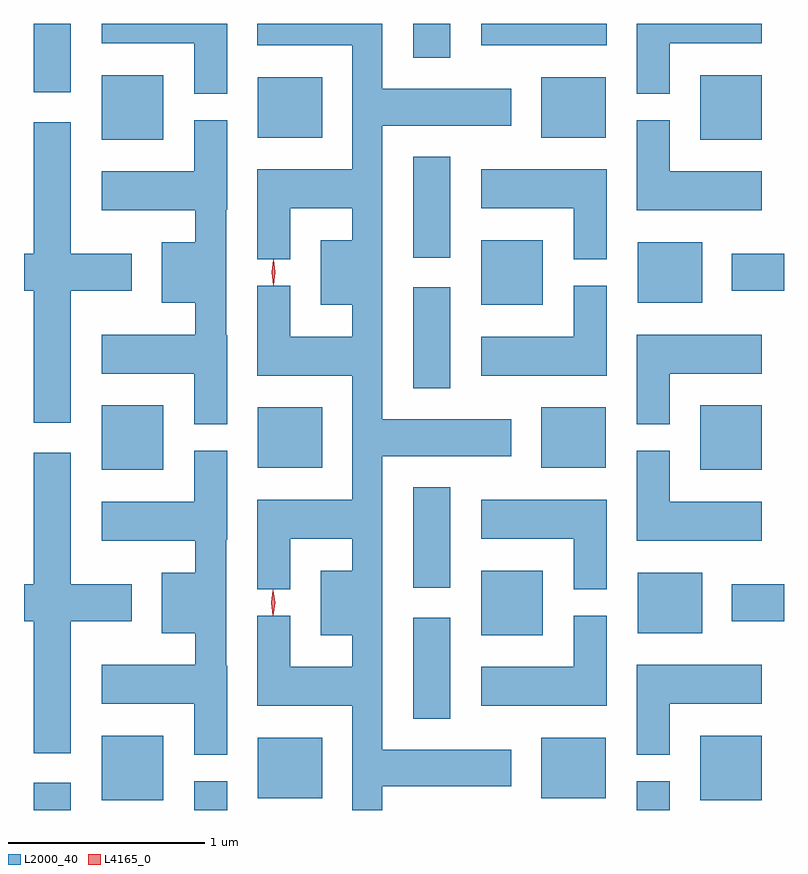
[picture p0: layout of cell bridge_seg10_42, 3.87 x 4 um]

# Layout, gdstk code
import gdstk
lib = gdstk.Library(unit=1e-6, precision=1e-09)
def R(c, l, rs):  # rectangles x0, y0, x1, y1
    for r in rs: c.add(gdstk.rectangle(r[:2], r[2:], *l))
def A(c, l, x, y, w, h, nx, ny, dx, dy):  # array of equal rectangles
    R(c, l, [(x+i*dx, y+j*dy, x+i*dx+w, y+j*dy+h) for i in range(nx) for j in range(ny)])
def P(c, l, *ps):  # polygons
    for p in ps: c.add(gdstk.Polygon(p, *l))
L2000_40 = (2000, 40)
L4165_0 = (4165, 0)

bridge_seg10_42 = lib.new_cell('bridge_seg10_42')
A(bridge_seg10_42, L2000_40, 1624.131, 2163.126, 0.313, 0.328, 1, 3, 0, 1.68)
A(bridge_seg10_42, L2000_40, 1627.176, 2163.126, 0.313, 0.328, 1, 3, 0, 1.68)
A(bridge_seg10_42, L2000_40, 1624.926, 2163.136, 0.328, 0.308, 1, 3, 0, 1.68)
A(bridge_seg10_42, L2000_40, 1626.366, 2163.136, 0.328, 0.308, 1, 3, 0, 1.68)
R(bridge_seg10_42, L2000_40, [(1623.786,2163.075,1623.974,2163.214), (1624.601,2163.075,1624.769,2163.223), (1626.851,2163.075,1627.019,2163.223), (1625.716,2163.541,1625.904,2164.054), (1626.061,2163.966,1626.374,2164.294), (1626.856,2163.976,1627.184,2164.284), (1627.336,2164.036,1627.601,2164.224), (1625.716,2164.206,1625.904,2164.719), (1625.716,2165.221,1625.904,2165.734), (1626.061,2165.646,1626.374,2165.974), (1626.856,2165.656,1627.184,2165.964), (1627.336,2165.716,1627.601,2165.904), (1625.716,2165.886,1625.904,2166.399), (1623.786,2166.726,1623.974,2167.075), (1625.716,2166.901,1625.904,2167.075), (1626.061,2166.966,1626.699,2167.075)])
P(bridge_seg10_42, L2000_40, [(1625.559,2163.196),(1626.214,2163.196),(1626.214,2163.384),(1625.559,2163.384),(1625.559,2164.876),(1626.214,2164.876),(1626.214,2165.064),(1625.559,2165.064),(1625.559,2166.556),(1626.214,2166.556),(1626.214,2166.744),(1625.559,2166.744),(1625.559,2167.075),(1624.921,2167.075),(1624.921,2166.966),(1625.406,2166.966),(1625.406,2166.334),(1624.921,2166.334),(1624.921,2165.878),(1625.089,2165.878),(1625.089,2166.136),(1625.406,2166.136),(1625.406,2165.974),(1625.246,2165.974),(1625.246,2165.646),(1625.406,2165.646),(1625.406,2165.484),(1625.089,2165.484),(1625.089,2165.743),(1624.921,2165.743),(1624.921,2165.286),(1625.406,2165.286),(1625.406,2164.654),(1624.921,2164.654),(1624.921,2164.198),(1625.089,2164.198),(1625.089,2164.456),(1625.406,2164.456),(1625.406,2164.294),(1625.246,2164.294),(1625.246,2163.966),(1625.406,2163.966),(1625.406,2163.804),(1625.089,2163.804),(1625.089,2164.063),(1624.921,2164.063),(1624.921,2163.606),(1625.406,2163.606),(1625.406,2163.075),(1625.559,2163.075)],
  [(1624.769,2167.075),(1624.131,2167.075),(1624.131,2166.976),(1624.601,2166.976),(1624.601,2166.718),(1624.769,2166.718)],
  [(1627.019,2166.976),(1627.489,2166.976),(1627.489,2167.075),(1626.851,2167.075),(1626.851,2166.718),(1627.019,2166.718)],
  [(1624.769,2165.49),(1624.764,2165.49),(1624.764,2166.13),(1624.769,2166.13),(1624.769,2166.583),(1624.601,2166.583),(1624.601,2166.324),(1624.131,2166.324),(1624.131,2166.126),(1624.606,2166.126),(1624.606,2165.964),(1624.436,2165.964),(1624.436,2165.656),(1624.606,2165.656),(1624.606,2165.494),(1624.131,2165.494),(1624.131,2165.296),(1624.601,2165.296),(1624.601,2165.038),(1624.769,2165.038)],
  [(1627.489,2166.324),(1627.019,2166.324),(1627.019,2166.583),(1626.851,2166.583),(1626.851,2166.126),(1627.489,2166.126)],
  [(1623.974,2165.716),(1624.284,2165.716),(1624.284,2165.904),(1623.974,2165.904),(1623.974,2166.574),(1623.786,2166.574),(1623.786,2165.904),(1623.736,2165.904),(1623.736,2165.716),(1623.786,2165.716),(1623.786,2165.046),(1623.974,2165.046)],
  [(1626.699,2166.334),(1626.061,2166.334),(1626.061,2166.136),(1626.531,2166.136),(1626.531,2165.878),(1626.699,2165.878)],
  [(1626.699,2165.743),(1626.531,2165.743),(1626.531,2165.484),(1626.061,2165.484),(1626.061,2165.286),(1626.699,2165.286)],
  [(1627.019,2165.296),(1627.489,2165.296),(1627.489,2165.494),(1626.851,2165.494),(1626.851,2165.038),(1627.019,2165.038)],
  [(1627.489,2164.644),(1627.019,2164.644),(1627.019,2164.903),(1626.851,2164.903),(1626.851,2164.446),(1627.489,2164.446)],
  [(1624.769,2163.81),(1624.764,2163.81),(1624.764,2164.45),(1624.769,2164.45),(1624.769,2164.903),(1624.601,2164.903),(1624.601,2164.644),(1624.131,2164.644),(1624.131,2164.446),(1624.606,2164.446),(1624.606,2164.284),(1624.436,2164.284),(1624.436,2163.976),(1624.606,2163.976),(1624.606,2163.814),(1624.131,2163.814),(1624.131,2163.616),(1624.601,2163.616),(1624.601,2163.358),(1624.769,2163.358)],
  [(1623.974,2164.036),(1624.284,2164.036),(1624.284,2164.224),(1623.974,2164.224),(1623.974,2164.894),(1623.786,2164.894),(1623.786,2164.224),(1623.736,2164.224),(1623.736,2164.036),(1623.786,2164.036),(1623.786,2163.366),(1623.974,2163.366)],
  [(1626.699,2164.654),(1626.061,2164.654),(1626.061,2164.456),(1626.531,2164.456),(1626.531,2164.198),(1626.699,2164.198)],
  [(1626.699,2164.063),(1626.531,2164.063),(1626.531,2163.804),(1626.061,2163.804),(1626.061,2163.606),(1626.699,2163.606)],
  [(1627.019,2163.616),(1627.489,2163.616),(1627.489,2163.814),(1626.851,2163.814),(1626.851,2163.358),(1627.019,2163.358)])
P(bridge_seg10_42, L4165_0, [(1625.003,2164.064),(1625.002,2164.065),(1624.993,2164.13),(1625.002,2164.195),(1625.003,2164.196),(1625.003,2164.195),(1625.013,2164.13),(1625.003,2164.065)],
  [(1625.005,2165.744),(1625.004,2165.745),(1624.995,2165.81),(1625.004,2165.875),(1625.005,2165.876),(1625.005,2165.875),(1625.015,2165.81),(1625.005,2165.745)])

lib.write_gds('bridge_seg10_42.gds')
